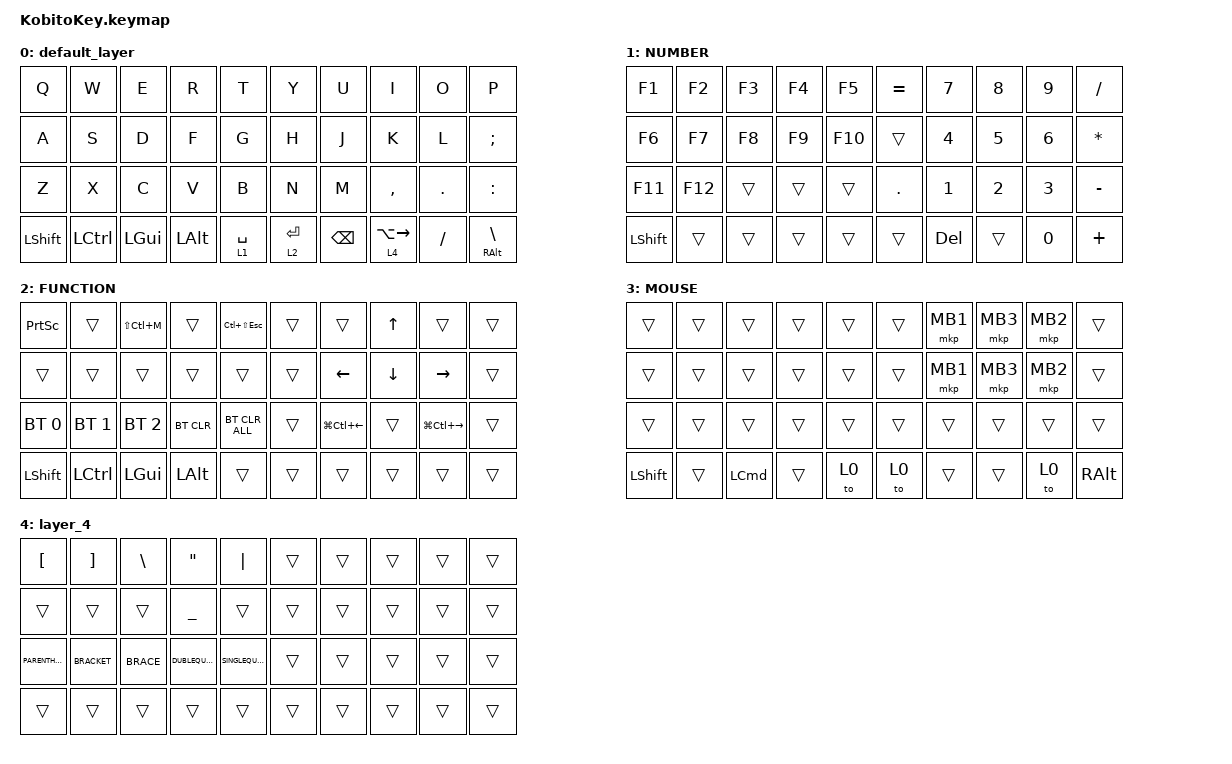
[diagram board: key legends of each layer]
#include <input/processors.dtsi>
#include <behaviors.dtsi>
#include <dt-bindings/zmk/bt.h>
#include <dt-bindings/zmk/keys.h>
#include <dt-bindings/zmk/pointing.h>

/ {
    combos {
        compatible = "zmk,combos";

        combo_eisu {
            timeout-ms = <50>;
            key-positions = <12 13>;
            bindings = <&kp LANG2>;
        };

        combo_kana {
            timeout-ms = <50>;
            key-positions = <16 17>;
            bindings = <&kp LANG1>;
        };

        combo_esc {
            timeout-ms = <50>;
            key-positions = <0 1>;
            bindings = <&kp ESC>;
        };

        combo_tab {
            timeout-ms = <50>;
            key-positions = <10 11>;
            bindings = <&kp TAB>;
        };
    };

    macros {
        PARENTHESES: PARENTHESES {
            compatible = "zmk,behavior-macro";
            #binding-cells = <0>;
            bindings = <&kp LEFT_PARENTHESIS &kp RIGHT_PARENTHESIS>;
            label = "PARENTHESES";
        };

        BRACKET: BRACKET {
            compatible = "zmk,behavior-macro";
            #binding-cells = <0>;
            bindings = <&kp LEFT_BRACKET &kp RIGHT_BRACKET>;
            label = "BRACKET";
        };

        BRACE: BRACE {
            compatible = "zmk,behavior-macro";
            #binding-cells = <0>;
            bindings = <&kp LEFT_BRACE &kp RIGHT_BRACE>;
            label = "BRACE";
        };

        DUBLEQUOTES: DUBLE {
            compatible = "zmk,behavior-macro";
            #binding-cells = <0>;
            bindings = <&kp DOUBLE_QUOTES &kp DOUBLE_QUOTES>;
            label = "DUBLE";
        };

        SINGLEQUATES: SINGLEQUATES {
            compatible = "zmk,behavior-macro";
            #binding-cells = <0>;
            bindings = <&kp SINGLE_QUOTE &kp SINGLE_QUOTE>;
            label = "SINGLEQUATES";
        };
    };

    keymap {
        compatible = "zmk,keymap";

        default_layer {
            bindings = <
&kp Q      &kp W      &kp E     &kp R     &kp T        &kp Y        &kp U          &kp I            &kp O      &kp P
&kp A      &kp S      &kp D     &kp F     &kp G        &kp H        &kp J          &kp K            &kp L      &kp SEMI
&kp Z      &kp X      &kp C     &kp V     &kp B        &kp N        &kp M          &kp COMMA        &kp DOT    &kp COLON
&kp LSHFT  &kp LCTRL  &kp LGUI  &kp LALT  &lt 1 SPACE  &lt 2 ENTER  &kp BACKSPACE  &lt 4 LA(RIGHT)  &kp SLASH  &mt RIGHT_ALT BACKSLASH
            >;
        };

        layer1 {
            label = "NUMBER";
            bindings = <
&kp F1          &kp F2   &kp F3  &kp F4  &kp F5   &kp EQUAL   &kp N7      &kp N8  &kp N9  &kp SLASH
&kp F6          &kp F7   &kp F8  &kp F9  &kp F10  &trans      &kp N4      &kp N5  &kp N6  &kp ASTERISK
&kp F11         &kp F12  &trans  &trans  &trans   &kp PERIOD  &kp N1      &kp N2  &kp N3  &kp MINUS
&kp LEFT_SHIFT  &trans   &trans  &trans  &trans   &trans      &kp DELETE  &trans  &kp N0  &kp PLUS
            >;
        };

        layer2 {
            label = "FUNCTION";
            bindings = <
&kp PRINTSCREEN  &trans        &kp LS(LC(M))  &trans      &kp LC(LS(ESCAPE))  &trans  &trans            &kp UP    &trans             &trans
&trans           &trans        &trans         &trans      &trans              &trans  &kp LEFT          &kp DOWN  &kp RIGHT          &trans
&bt BT_SEL 0     &bt BT_SEL 1  &bt BT_SEL 2   &bt BT_CLR  &bt BT_CLR_ALL      &trans  &kp LG(LC(LEFT))  &trans    &kp LG(LC(RIGHT))  &trans
&kp LSHFT        &kp LCTRL     &kp LGUI       &kp LALT    &trans              &trans  &trans            &trans    &trans             &trans
            >;
        };

        layer3 {
            label = "MOUSE";
            bindings = <
&trans     &trans  &trans    &trans  &trans  &trans  &mkp MB1  &mkp MB3  &mkp MB2  &trans
&trans     &trans  &trans    &trans  &trans  &trans  &mkp MB1  &mkp MB3  &mkp MB2  &trans
&trans     &trans  &trans    &trans  &trans  &trans  &trans    &trans    &trans    &trans
&kp LSHFT  &trans  &kp LCMD  &trans  &to 0   &to 0   &trans    &trans    &to 0     &kp RALT
            >;
        };

        layer_4 {
            bindings = <
&kp LBKT      &kp RBKT  &kp BSLH  &kp DOUBLE_QUOTES  &kp PIPE       &trans  &trans  &trans  &trans  &trans
&trans        &trans    &trans    &kp UNDER          &trans         &trans  &trans  &trans  &trans  &trans
&PARENTHESES  &BRACKET  &BRACE    &DUBLEQUOTES       &SINGLEQUATES  &trans  &trans  &trans  &trans  &trans
&trans        &trans    &trans    &trans             &trans         &trans  &trans  &trans  &trans  &trans
            >;
        };
    };
};
